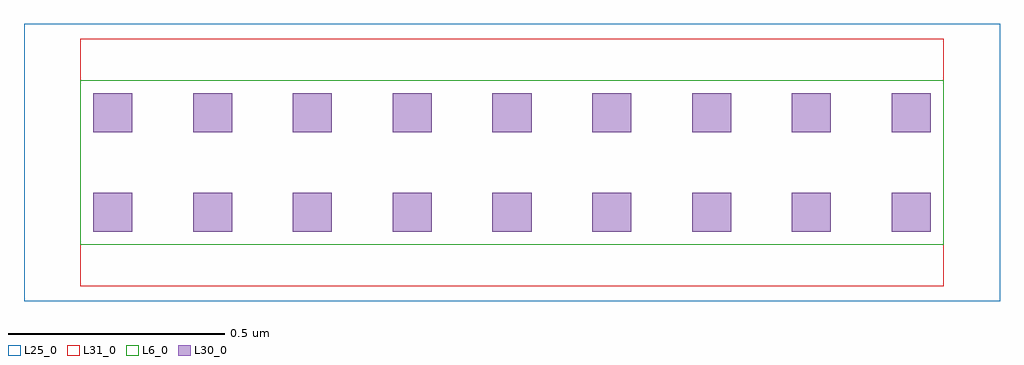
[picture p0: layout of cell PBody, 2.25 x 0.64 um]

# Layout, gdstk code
import gdstk
lib = gdstk.Library(unit=1e-6, precision=1e-09)
def R(c, l, rs):  # rectangles x0, y0, x1, y1
    for r in rs: c.add(gdstk.rectangle(r[:2], r[2:], *l))
def A(c, l, x, y, w, h, nx, ny, dx, dy):  # array of equal rectangles
    R(c, l, [(x+i*dx, y+j*dy, x+i*dx+w, y+j*dy+h) for i in range(nx) for j in range(ny)])
L6_0 = (6, 0)
L25_0 = (25, 0)
L30_0 = (30, 0)
L31_0 = (31, 0)

m1_pod_cdns_566459904120 = lib.new_cell('M1_POD_CDNS_566459904120')
R(m1_pod_cdns_566459904120, L6_0, [(-0.995,-0.19,0.995,0.19)])
R(m1_pod_cdns_566459904120, L25_0, [(-1.125,-0.32,1.125,0.32)])
A(m1_pod_cdns_566459904120, L30_0, -0.965, -0.16, 0.09, 0.09, 9, 2, 0.23, 0.23)
R(m1_pod_cdns_566459904120, L31_0, [(-0.995,-0.285,0.995,0.285)])

pbody = lib.new_cell('PBody')
R(pbody, L6_0, [(-0.81,-0.15,1.18,0.23)])
R(pbody, L25_0, [(-0.94,-0.28,1.31,0.36)])
R(pbody, L31_0, [(-0.81,-0.245,1.18,0.325)])
pbody.add(gdstk.Reference(m1_pod_cdns_566459904120, (0.185,0.04)))

lib.write_gds('PBody.gds')
